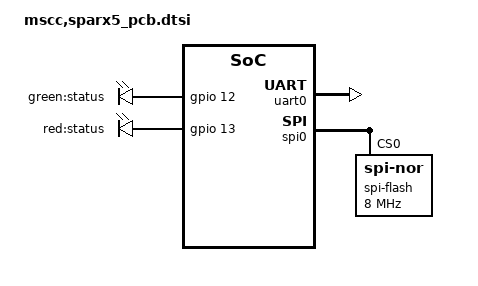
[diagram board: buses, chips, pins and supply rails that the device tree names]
// SPDX-License-Identifier: (GPL-2.0+ OR MIT)
/*
 * Copyright (c) 2019 Microsemi Corporation
 */

/dts-v1/;
#include "mscc,sparx5.dtsi"

/ {
	gpio-leds {
		compatible = "gpio-leds";

		status_green {
			label = "green:status";
			gpios = <&gpio 12 0>;
			default-state = "on";
		};

		status_red {
			label = "red:status";
			gpios = <&gpio 13 0>;
			default-state = "off";
		};
	};
};

&uart0 {
        status = "okay";
};

&spi0 {
	status = "okay";
	spi-flash@0 {
		compatible = "jedec,spi-nor";
		spi-max-frequency = <8000000>; /* Max NOR speed */
		reg = <0>; /* CS0 */
	};
};
